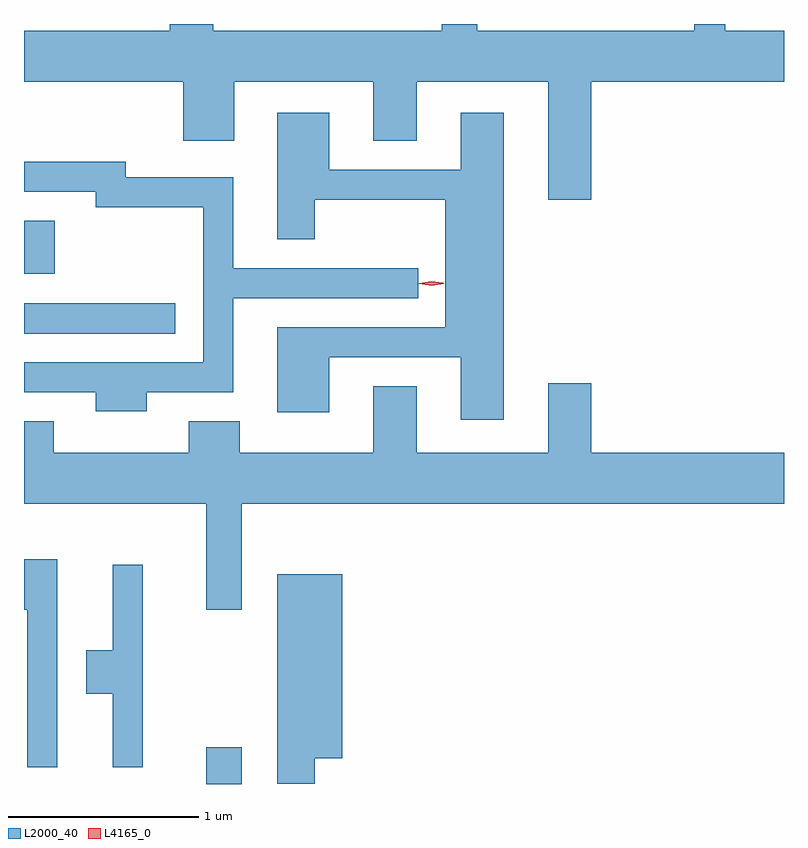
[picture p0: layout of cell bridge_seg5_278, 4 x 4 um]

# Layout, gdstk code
import gdstk
lib = gdstk.Library(unit=1e-6, precision=1e-09)
def R(c, l, rs):  # rectangles x0, y0, x1, y1
    for r in rs: c.add(gdstk.rectangle(r[:2], r[2:], *l))
def P(c, l, *ps):  # polygons
    for p in ps: c.add(gdstk.Polygon(p, *l))
L2000_40 = (2000, 40)
L4165_0 = (4165, 0)

bridge_seg5_278 = lib.new_cell('bridge_seg5_278')
R(bridge_seg5_278, L2000_40, [(762.891,1484.18,763.079,1484.374), (761.933,1486.551,762.728,1486.709), (761.933,1486.866,762.094,1487.144)])
P(bridge_seg5_278, L2000_40, [(764.919,1487.876),(765.933,1487.876),(765.933,1488.144),(765.624,1488.144),(765.624,1488.18),(765.461,1488.18),(765.461,1488.144),(764.319,1488.144),(764.319,1488.18),(764.131,1488.18),(764.131,1488.144),(762.929,1488.144),(762.929,1488.18),(762.701,1488.18),(762.701,1488.144),(761.933,1488.144),(761.933,1487.876),(762.771,1487.876),(762.771,1487.566),(763.039,1487.566),(763.039,1487.876),(763.771,1487.876),(763.771,1487.566),(763.999,1487.566),(763.999,1487.876),(764.691,1487.876),(764.691,1487.256),(764.919,1487.256)],
  [(764.459,1487.714),(764.231,1487.714),(764.231,1487.414),(763.539,1487.414),(763.539,1487.714),(763.266,1487.714),(763.266,1487.046),(763.464,1487.046),(763.464,1487.256),(764.151,1487.256),(764.151,1486.584),(763.266,1486.584),(763.266,1486.136),(763.539,1486.136),(763.539,1486.426),(764.231,1486.426),(764.231,1486.096),(764.459,1486.096)],
  [(762.579,1486.241),(763.034,1486.241),(763.034,1486.736),(764.008,1486.736),(764.008,1486.894),(763.034,1486.894),(763.034,1487.374),(762.469,1487.374),(762.469,1487.454),(761.933,1487.454),(761.933,1487.296),(762.311,1487.296),(762.311,1487.216),(762.876,1487.216),(762.876,1486.399),(761.933,1486.399),(761.933,1486.241),(762.311,1486.241),(762.311,1486.141),(762.579,1486.141)],
  [(763.079,1485.656),(765.933,1485.656),(765.933,1485.924),(764.919,1485.924),(764.919,1486.289),(764.691,1486.289),(764.691,1485.924),(763.999,1485.924),(763.999,1486.274),(763.771,1486.274),(763.771,1485.924),(763.069,1485.924),(763.069,1486.089),(762.801,1486.089),(762.801,1485.924),(762.089,1485.924),(762.089,1486.089),(761.933,1486.089),(761.933,1485.656),(762.891,1485.656),(762.891,1485.096),(763.079,1485.096)],
  [(762.109,1485.364),(761.933,1485.364),(761.933,1485.096),(761.951,1485.096),(761.951,1484.268),(762.109,1484.268)],
  [(762.559,1485.333),(762.401,1485.333),(762.401,1484.884),(762.261,1484.884),(762.261,1484.656),(762.401,1484.656),(762.401,1484.268),(762.559,1484.268)],
  [(763.464,1484.316),(763.609,1484.316),(763.609,1485.284),(763.266,1485.284),(763.266,1484.181),(763.464,1484.181)])
P(bridge_seg5_278, L4165_0, [(764.078,1486.802),(764.01,1486.812),(764.009,1486.813),(764.01,1486.813),(764.078,1486.822),(764.146,1486.813),(764.146,1486.812),(764.146,1486.812)],
  [(764.076,1486.806),(764.013,1486.814),(764.013,1486.815),(764.013,1486.815),(764.076,1486.826),(764.139,1486.818),(764.14,1486.817),(764.139,1486.816)])

lib.write_gds('bridge_seg5_278.gds')
